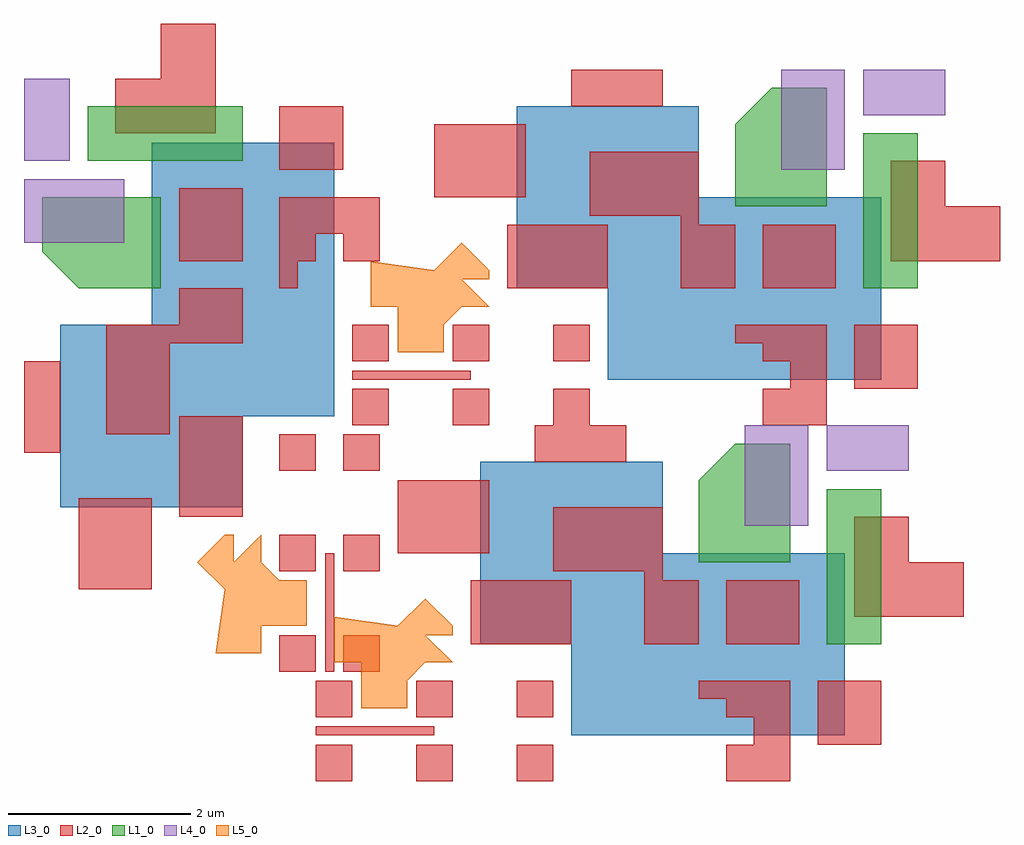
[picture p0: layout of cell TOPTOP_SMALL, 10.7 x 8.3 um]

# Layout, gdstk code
from math import pi, radians
import gdstk
lib = gdstk.Library(unit=1e-6, precision=1e-09)
def R(c, l, rs):  # rectangles x0, y0, x1, y1
    for r in rs: c.add(gdstk.rectangle(r[:2], r[2:], *l))
def A(c, l, x, y, w, h, nx, ny, dx, dy):  # array of equal rectangles
    R(c, l, [(x+i*dx, y+j*dy, x+i*dx+w, y+j*dy+h) for i in range(nx) for j in range(ny)])
def P(c, l, *ps):  # polygons
    for p in ps: c.add(gdstk.Polygon(p, *l))
L1_0 = (1, 0)
L2_0 = (2, 0)
L3_0 = (3, 0)
L4_0 = (4, 0)
L5_0 = (5, 0)

top = lib.new_cell('TOP')
R(top, L1_0, [(-0.2,-4,0.4,-2.3)])
P(top, L1_0, [(-1.6,-3.1),(-1.6,-2.2),(-1.2,-1.8),(-0.6,-1.8),(-0.6,-3.1)])
A(top, L2_0, -5.8, -5.5, 0.4, 0.4, 3, 2, 1.1, 0.7)
R(top, L2_0, [(-0.3,-5.1,0.4,-4.4), (-5.8,-5,-4.5,-4.9), (-4.1,-4,-3,-3.3), (-1.3,-4,-0.5,-3.3), (-4.9,-3,-3.9,-2.2), (-3.4,-2,-2.4,-1.6)])
P(top, L2_0, [(0.1,-3.7),(0.1,-2.6),(0.7,-2.6),(0.7,-3.1),(1.3,-3.1),(1.3,-3.7)],
  [(-1.3,-5.5),(-1.3,-5.1),(-1,-5.1),(-1,-4.8),(-1.3,-4.8),(-1.3,-4.6),(-1.6,-4.6),(-1.6,-4.4),(-0.6,-4.4),(-0.6,-5.5)],
  [(-2.2,-4),(-2.2,-3.2),(-3.2,-3.2),(-3.2,-2.5),(-2,-2.5),(-2,-3.3),(-1.6,-3.3),(-1.6,-4)])
R(top, L3_0, [(-3,-5,0,-3), (-4,-4,-2,-2)])
R(top, L4_0, [(-1.1,-2.7,-0.4,-1.6), (-0.2,-2.1,0.7,-1.6)])
P(top, L5_0, [(-5.3,-4.7),(-5.3,-4.2),(-5.6,-4.2),(-5.6,-3.7),(-4.9,-3.8),(-4.6,-3.5),(-4.3,-3.8),(-4.3,-3.9),(-4.6,-3.9),(-4.3,-4.2),(-4.6,-4.2),(-4.8,-4.4),(-4.8,-4.7)])
top.add(gdstk.Label('AA', (-1.4,-2.3), layer=1, texttype=0))
top.add(gdstk.Label('A*', (-1,-2.3), layer=1, texttype=0))
top.add(gdstk.Label('B', (-1,-2), layer=1, texttype=0))

toptop_small = lib.new_cell('TOPTOP_SMALL')
toptop_small.add(gdstk.Reference(top, (5.8,5.5)))
toptop_small.add(gdstk.Reference(top, (-4.8,7), rotation=pi/2))
toptop_small.add(gdstk.Reference(top, (6.2,9.4)))

lib.write_gds('TOPTOP_SMALL.gds')
